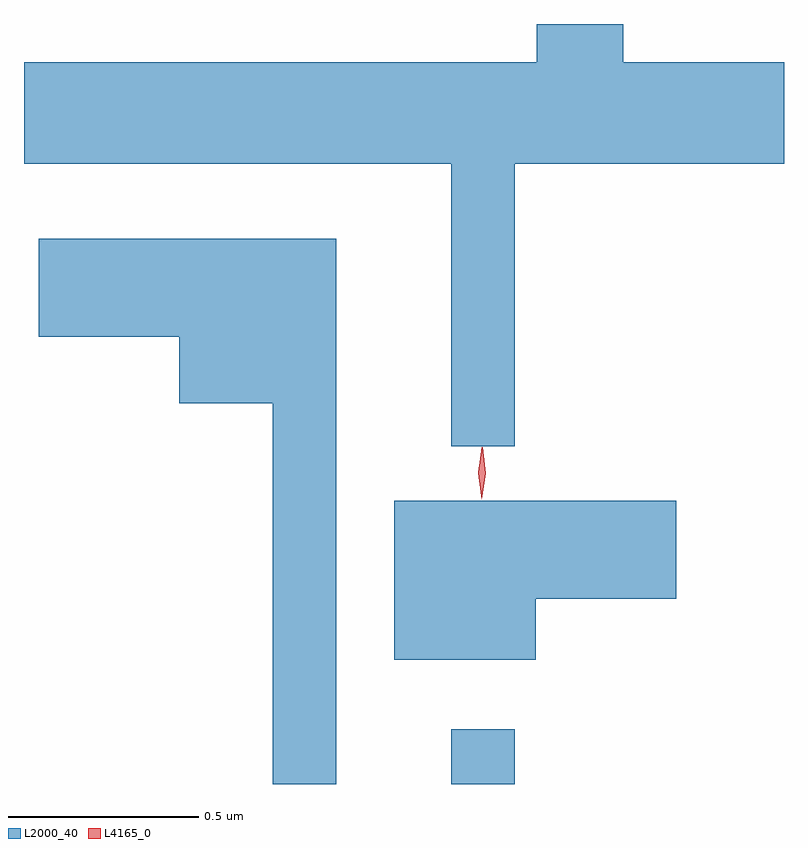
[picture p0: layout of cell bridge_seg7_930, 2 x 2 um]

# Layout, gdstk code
import gdstk
lib = gdstk.Library(unit=1e-6, precision=1e-09)
def R(c, l, rs):  # rectangles x0, y0, x1, y1
    for r in rs: c.add(gdstk.rectangle(r[:2], r[2:], *l))
def P(c, l, *ps):  # polygons
    for p in ps: c.add(gdstk.Polygon(p, *l))
L2000_40 = (2000, 40)
L4165_0 = (4165, 0)

bridge_seg7_930 = lib.new_cell('bridge_seg7_930')
R(bridge_seg7_930, L2000_40, [(539.391,1686.044,539.559,1686.188)])
P(bridge_seg7_930, L2000_40, [(539.559,1687.676),(540.267,1687.676),(540.267,1687.944),(539.844,1687.944),(539.844,1688.044),(539.616,1688.044),(539.616,1687.944),(538.267,1687.944),(538.267,1687.676),(539.391,1687.676),(539.391,1686.933),(539.559,1686.933)],
  [(539.089,1687.479),(538.306,1687.479),(538.306,1687.221),(538.676,1687.221),(538.676,1687.046),(538.921,1687.046),(538.921,1686.044),(539.089,1686.044)],
  [(539.614,1686.531),(539.984,1686.531),(539.984,1686.789),(539.241,1686.789),(539.241,1686.371),(539.614,1686.371)])
P(bridge_seg7_930, L4165_0, [(539.471,1686.8),(539.47,1686.801),(539.462,1686.864),(539.472,1686.926),(539.473,1686.927),(539.474,1686.926),(539.482,1686.863),(539.471,1686.801)],
  [(539.471,1686.794),(539.471,1686.794),(539.462,1686.862),(539.472,1686.93),(539.473,1686.93),(539.474,1686.93),(539.482,1686.862),(539.472,1686.794)])

lib.write_gds('bridge_seg7_930.gds')
